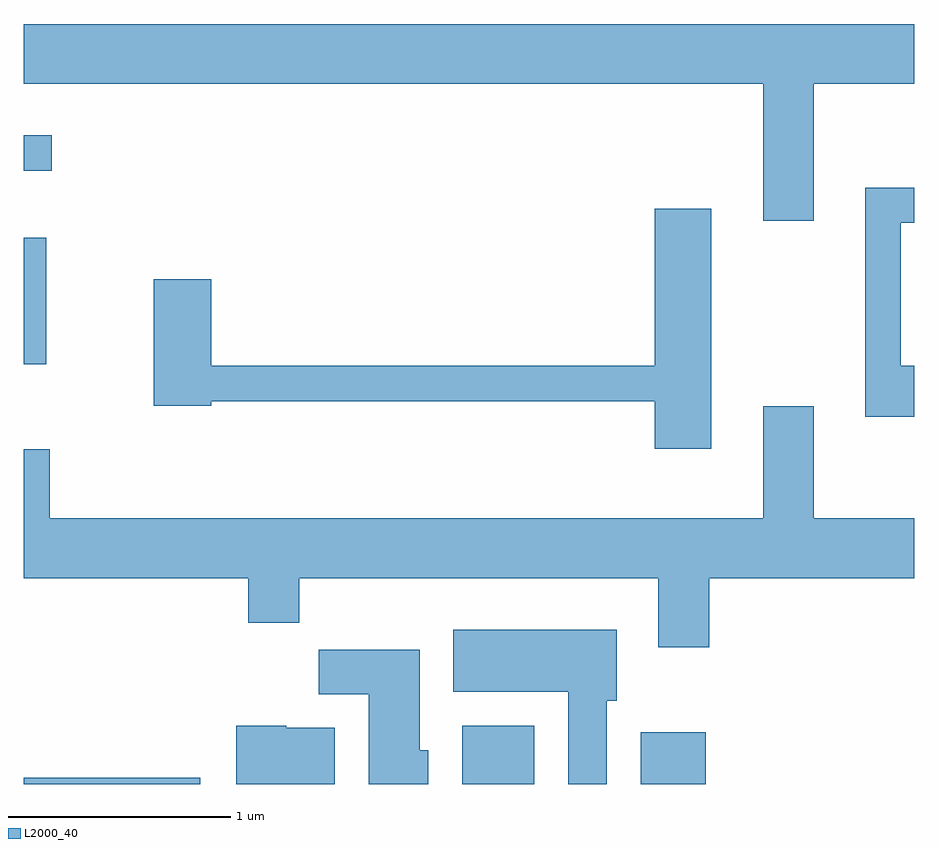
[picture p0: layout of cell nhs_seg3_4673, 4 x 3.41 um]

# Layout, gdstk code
import gdstk
lib = gdstk.Library(unit=1e-6, precision=1e-09)
def R(c, l, rs):  # rectangles x0, y0, x1, y1
    for r in rs: c.add(gdstk.rectangle(r[:2], r[2:], *l))
def P(c, l, *ps):  # polygons
    for p in ps: c.add(gdstk.Polygon(p, *l))
L2000_40 = (2000, 40)

nhs_seg3_4673 = lib.new_cell('nhs_seg3_4673')
R(nhs_seg3_4673, L2000_40, [(321.611,1213.892,322.404,1213.919), (323.581,1213.892,323.904,1214.154), (324.381,1213.892,324.674,1214.124), (321.611,1215.776,321.714,1216.344), (321.611,1216.646,321.738,1216.804)])
P(nhs_seg3_4673, L2000_40, [(325.159,1217.036),(325.611,1217.036),(325.611,1217.304),(321.611,1217.304),(321.611,1217.036),(324.931,1217.036),(324.931,1216.421),(325.159,1216.421)],
  [(325.611,1215.769),(325.549,1215.769),(325.549,1216.411),(325.611,1216.411),(325.611,1216.569),(325.391,1216.569),(325.391,1215.541),(325.611,1215.541)],
  [(324.699,1216.474),(324.446,1216.474),(324.446,1215.769),(322.454,1215.769),(322.454,1216.159),(322.196,1216.159),(322.196,1215.591),(322.454,1215.591),(322.454,1215.611),(324.446,1215.611),(324.446,1215.396),(324.699,1215.396)],
  [(324.689,1214.816),(325.611,1214.816),(325.611,1215.084),(325.159,1215.084),(325.159,1215.589),(324.931,1215.589),(324.931,1215.084),(321.729,1215.084),(321.729,1215.394),(321.611,1215.394),(321.611,1214.816),(322.621,1214.816),(322.621,1214.616),(322.849,1214.616),(322.849,1214.816),(324.461,1214.816),(324.461,1214.506),(324.689,1214.506)],
  [(324.229,1214.266),(324.274,1214.266),(324.274,1214.584),(323.541,1214.584),(323.541,1214.306),(324.056,1214.306),(324.056,1213.892),(324.229,1213.892)],
  [(323.429,1214.044),(323.389,1214.044),(323.389,1214.494),(322.936,1214.494),(322.936,1214.296),(323.161,1214.296),(323.161,1213.892),(323.429,1213.892)],
  [(323.009,1214.144),(322.79,1214.144),(322.79,1214.154),(322.566,1214.154),(322.566,1213.892),(323.009,1213.892)])

lib.write_gds('nhs_seg3_4673.gds')
